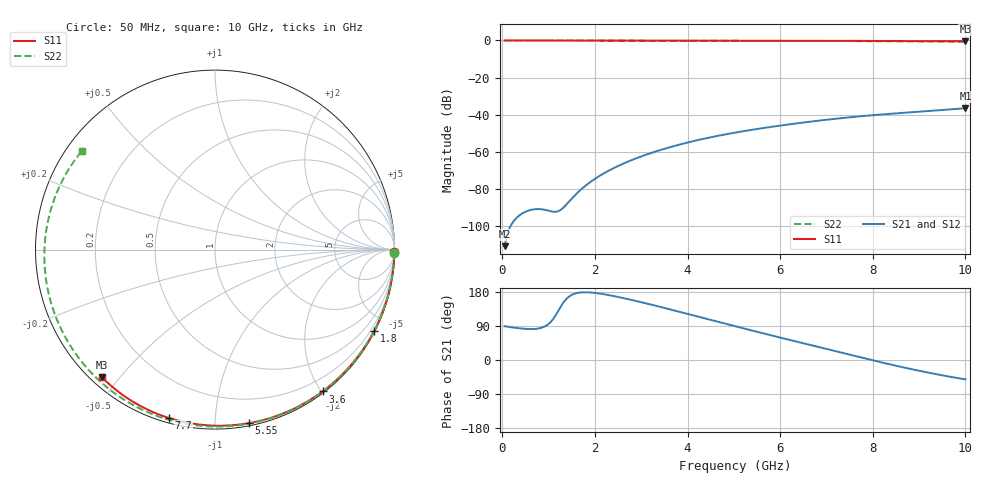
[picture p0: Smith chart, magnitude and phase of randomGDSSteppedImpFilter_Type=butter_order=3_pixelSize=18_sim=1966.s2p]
! freq	dB(S11)	phase(S11)	dB(S12)	phase(S12)
!  dB(S21)	phase(S21)	dB(S22)	phase(S22)
!S-par simulation data
#  GHz  S  DB  R 50
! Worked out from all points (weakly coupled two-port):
!   200 points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, 50 MHz to 10 GHz, reference 50 ohm
!   highest |S21| = -36.54 dB at 10 GHz (marker M1); lowest = -111.0 dB at 50 MHz (marker M2)
!   lowest |S11| = -0.4 dB at 10 GHz (marker M3), VSWR 38.93, Z = 1.54 - j22.4 ohm
!   |S11| at or under -10 dB: nowhere
!   |S22| runs from -0.7 to 0.0 dB; largest |S21 - S12| = 0
!   S11 on the Smith chart (normalised r, x): 50 MHz: open; 1.8 GHz: 0.04, -4.16; 3.6 GHz: 0.02, -2.01; 5.55 GHz: 0.02, -1.22; 7.7 GHz: 0.02, -0.76; 10 GHz: 0.03, -0.45
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0.05  -0.00 -0.8  -111.02 89.1  -111.02 89.1  -0.00 -1.2
0.45  -0.01 -6.8  -93.07 82.6  -93.07 82.6  -0.01 -10.9
0.85  -0.02 -12.9  -91.12 85.3  -91.12 85.3  -0.03 -20.4
1.7  -0.03 -25.6  -80.42 178.3  -80.42 178.3  -0.05 -40.4
1.75  -0.03 -26.3  -79.34 178.7  -79.34 178.7  -0.05 -41.5
1.8  -0.03 -27.0  -78.32 178.8  -78.32 178.8  -0.05 -42.7
2.1  -0.04 -31.4  -73.09 175.4  -73.09 175.4  -0.06 -49.6
2.45  -0.05 -36.5  -68.35 167.6  -68.35 167.6  -0.07 -57.4
2.9  -0.06 -43.0  -63.52 155.4  -63.52 155.4  -0.09 -67.4
3.4  -0.07 -50.1  -59.23 140.5  -59.23 140.5  -0.10 -78.2
3.6  -0.07 -52.8  -57.74 134.3  -57.74 134.3  -0.11 -82.4
4.3  -0.09 -62.4  -53.33 112.1  -53.33 112.1  -0.14 -96.9
5.05  -0.11 -72.4  -49.64 88.3  -49.64 88.3  -0.17 -112.1
5.55  -0.13 -78.9  -47.59 72.8  -47.59 72.8  -0.20 -121.9
6.15  -0.15 -86.5  -45.43 54.7  -45.43 54.7  -0.24 -133.6
6.7  -0.18 -93.3  -43.67 38.1  -43.67 38.1  -0.28 -144.4
7.7  -0.24 -105.3  -40.99 8.0  -40.99 8.0  -0.36 -164.2
8.35  -0.29 -112.9  -39.63 -10.9  -39.63 -10.9  -0.43 -177.6
8.8  -0.33 -118.1  -38.81 -23.2  -38.81 -23.2  -0.49 172.6
9.2  -0.36 -122.7  -38.12 -33.3  -38.12 -33.3  -0.54 163.5
9.6  -0.40 -127.2  -37.38 -42.7  -37.38 -42.7  -0.61 153.8
10  -0.45 -131.7  -36.54 -51.2  -36.54 -51.2  -0.69 143.6
